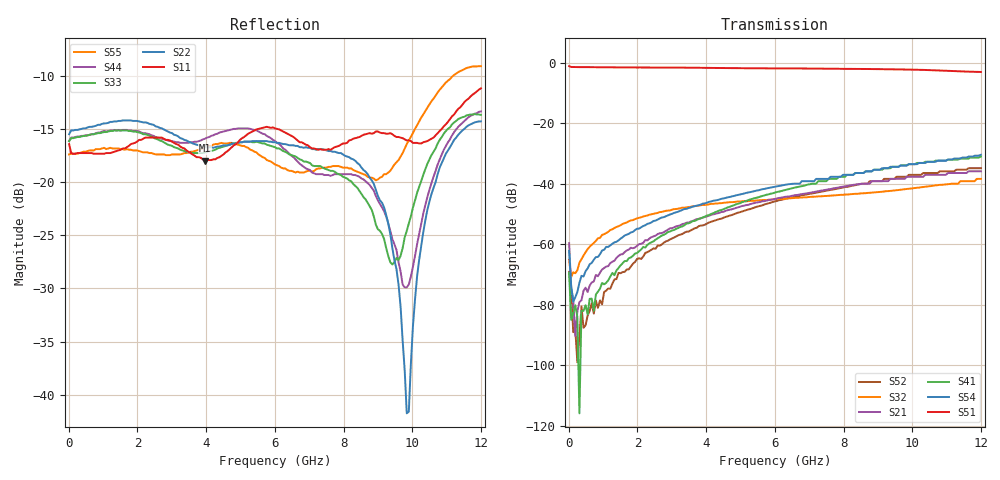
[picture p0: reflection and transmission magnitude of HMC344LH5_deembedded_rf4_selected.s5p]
! Hittite Microwave Corporation
! 20 Alpha Road
! Chelmsford, MA 01824
! Tel: 978-250-3343
! Fax: 978-250-3373
! Device: HMC344LH5, DC-12 GHz GaAs MMIC SP4T Non-Reflective Switch in Hermetic Leadless SMT Package
! Misc: Data was de-embedded to package pins.
!  Port 1 = RFC
!  Port 2 = RF1
!  Port 3 = RF2
!  Port 4 = RF3
!  Port 5 = RF4
!  RF4 selected, Vctl= 0/-5 V
!  Data reformated to new Touchstone file format - Tue Jan 09 16:01:08 2007
# MHz S DB R 50
! 5 Port Network Data
! freq  dbS11  angS11  dbS12  angS12  dbS13  angS13  dbS14  angS14
!  dbS15  angS15
!  dbS21  angS21  dbS22  angS22  dbS23  angS23
!  dbS24  angS24  dbS25  angS25
!  dbS31  angS31  dbS32  angS32
!  dbS33  angS33  dbS34  angS34  dbS35  angS35
!  dbS41  angS41
!  dbS42  angS42  dbS43  angS43  dbS44  angS44  dbS45  angS45
!  dbS51  angS51  dbS52  angS52  dbS53  angS53  dbS54  angS54
!  dbS55  angS55
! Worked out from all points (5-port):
!   201 points, 10 MHz to 12 GHz, reference 50 ohm
!   strongest paths, dB at 10 MHz, 3.007 GHz, 6.005 GHz, 9.002 GHz, 12 GHz:
!     S51: -1.2, -1.6, -1.9, -2.2, -3.1
!     S54: -62.2, -49.9, -41.0, -35.4, -30.5
!     S41: -69.4, -55.4, -42.9, -35.4, -31.1
!     S21: -59.7, -54.7, -45.0, -39.2, -35.9
!     S32: -65.2, -48.6, -45.1, -42.8, -38.4
!     S52: -69.1, -58.1, -45.8, -39.2, -34.9
!   lowest |S11| = -18.0 dB at 3.967 GHz (marker M1), VSWR 1.29, Z = 42.7 - j9.18 ohm
!   |S11| at or under -10 dB: start of sweep to end of sweep
